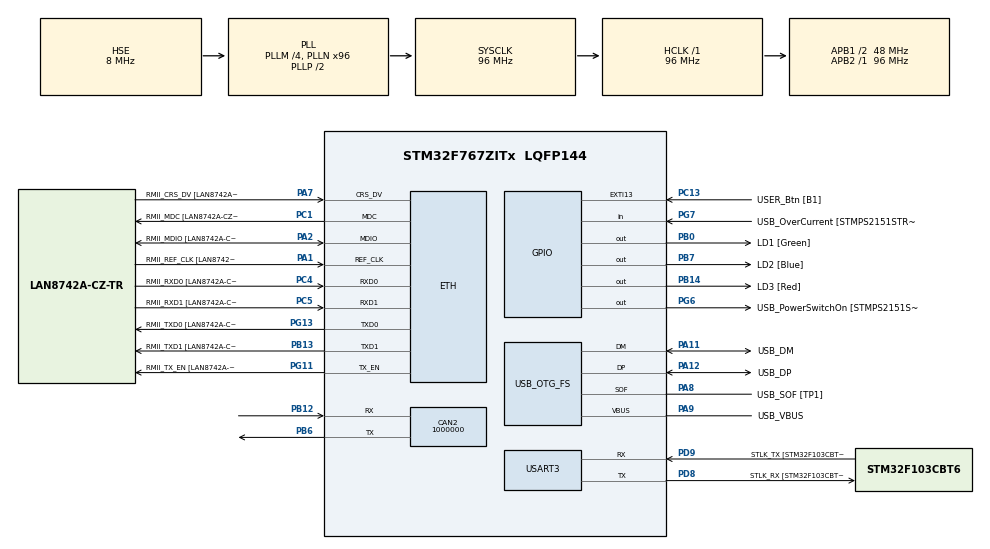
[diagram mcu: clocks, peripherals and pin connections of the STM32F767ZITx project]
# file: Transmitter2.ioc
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CAN2.CalculateBaudRate=1000000
CAN2.CalculateTimeQuantum=333.3333333333333
ETH.MediaInterface=HAL_ETH_RMII_MODE
ETH.PHY_Name=LAN8742A_PHY_ADDRESS
ETH.PHY_Value=0
ETH.PhyAddress=0
Mcu.Family=STM32F7
Mcu.Name=STM32F767ZITx
Mcu.Package=LQFP144
NVIC.PriorityGroup=NVIC_PRIORITYGROUP_4
PA1.GPIO_Label=RMII_REF_CLK [LAN8742A-CZ-TR_REFCLK0]
PA1.Mode=RMII
PA1.Signal=ETH_REF_CLK
PA10.GPIO_Label=USB_ID
PA10.Signal=USB_OTG_FS_ID
PA11.GPIO_Label=USB_DM
PA11.Mode=Device_Only
PA11.Signal=USB_OTG_FS_DM
PA12.GPIO_Label=USB_DP
PA12.Mode=Device_Only
PA12.Signal=USB_OTG_FS_DP
PA13.GPIO_Label=TMS
PA13.Mode=Serial_Wire
PA13.Signal=SYS_JTMS-SWDIO
PA14.GPIO_Label=TCK
PA14.Mode=Serial_Wire
PA14.Signal=SYS_JTCK-SWCLK
PA2.GPIO_Label=RMII_MDIO [LAN8742A-CZ-TR_MDIO]
PA2.Mode=RMII
PA2.Signal=ETH_MDIO
PA7.GPIO_Label=RMII_CRS_DV [LAN8742A-CZ-TR_CRS_DV]
PA7.Mode=RMII
PA7.Signal=ETH_CRS_DV
PA8.GPIO_Label=USB_SOF [TP1]
PA8.Mode=Activate_SOF_FS
PA8.Signal=USB_OTG_FS_SOF
PA9.GPIO_Label=USB_VBUS
PA9.Mode=Activate_VBUS
PA9.Signal=USB_OTG_FS_VBUS
PB0.GPIO_Label=LD1 [Green]
PB0.Signal=GPIO_Output
PB12.Mode=CAN_Activate
PB12.Signal=CAN2_RX
PB13.GPIO_Label=RMII_TXD1 [LAN8742A-CZ-TR_TXD1]
PB13.Mode=RMII
PB13.Signal=ETH_TXD1
PB14.GPIO_Label=LD3 [Red]
PB14.Signal=GPIO_Output
PB3.GPIO_Label=SWO
PB3.Signal=SYS_JTDO-SWO
PB6.Mode=CAN_Activate
PB6.Signal=CAN2_TX
PB7.GPIO_Label=LD2 [Blue]
PB7.Signal=GPIO_Output
PC1.GPIO_Label=RMII_MDC [LAN8742A-CZ-TR_MDC]
PC1.Mode=RMII
PC1.Signal=ETH_MDC
PC13.GPIO_Label=USER_Btn [B1]
PC13.Signal=GPXTI13
PC14/OSC32_IN.Mode=LSE-External-Oscillator
PC14/OSC32_IN.Signal=RCC_OSC32_IN
PC15/OSC32_OUT.Mode=LSE-External-Oscillator
PC15/OSC32_OUT.Signal=RCC_OSC32_OUT
PC4.GPIO_Label=RMII_RXD0 [LAN8742A-CZ-TR_RXD0]
PC4.Mode=RMII
PC4.Signal=ETH_RXD0
PC5.GPIO_Label=RMII_RXD1 [LAN8742A-CZ-TR_RXD1]
PC5.Mode=RMII
PC5.Signal=ETH_RXD1
PD8.GPIO_Label=STLK_RX [STM32F103CBT6_PA3]
PD8.Mode=Asynchronous
PD8.Signal=USART3_TX
PD9.GPIO_Label=STLK_TX [STM32F103CBT6_PA2]
PD9.Mode=Asynchronous
PD9.Signal=USART3_RX
PG11.GPIO_Label=RMII_TX_EN [LAN8742A-CZ-TR_TXEN]
PG11.Mode=RMII
PG11.Signal=ETH_TX_EN
PG13.GPIO_Label=RMII_TXD0 [LAN8742A-CZ-TR_TXD0]
PG13.Mode=RMII
PG13.Signal=ETH_TXD0
PG6.GPIO_Label=USB_PowerSwitchOn [STMPS2151STR_EN]
PG6.Signal=GPIO_Output
PG7.GPIO_Label=USB_OverCurrent [STMPS2151STR_FAULT]
PG7.Signal=GPIO_Input
PH0/OSC_IN.GPIO_Label=MCO [STM32F103CBT6_PA8]
PH0/OSC_IN.Mode=HSE-External-Clock-Source
PH0/OSC_IN.Signal=RCC_OSC_IN
PH1/OSC_OUT.Mode=HSE-External-Clock-Source
PH1/OSC_OUT.Signal=RCC_OSC_OUT
ProjectManager.HeapSize=0x200
ProjectManager.StackSize=0x400
ProjectManager.TargetToolchain=STM32CubeIDE
RCC.48MHZClocksFreq_Value=24000000
RCC.AHBFreq_Value=96000000
RCC.APB1CLKDivider=RCC_HCLK_DIV2
RCC.APB1Freq_Value=48000000
RCC.APB1TimFreq_Value=96000000
RCC.APB2Freq_Value=96000000
RCC.APB2TimFreq_Value=96000000
RCC.CortexFreq_Value=96000000
RCC.HCLKFreq_Value=96000000
RCC.HSE_VALUE=8000000
RCC.HSI_VALUE=16000000
RCC.PLLM=4
RCC.PLLMUL=RCC_PLL_MUL9
RCC.PLLN=96
RCC.PLLQ=4
RCC.PRESCALERUSB=RCC_USBCLKSOURCE_PLL_DIV1_5
RCC.SYSCLKFreq_VALUE=96000000
RCC.SYSCLKSource=RCC_SYSCLKSOURCE_PLLCLK
RCC.SYSCLKSourceVirtual=RCC_SYSCLKSOURCE_PLLCLK
RCC.USBFreq_Value=48000000
RCC.VCOOutputFreq_Value=192000000
USART3.VirtualMode-Asynchronous=VM_ASYNC
USB_OTG_FS.VirtualMode=Device_Only
board=NUCLEO-F767ZI

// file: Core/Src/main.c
/* USER CODE BEGIN Header */
/**
  *******************************************************************************
  * @file           : main.c
  * @brief          : Main program body
  *******************************************************************************
  * @attention
  *
  * Copyright (c) 2024 STMicroelectronics.
  * All rights reserved.
  *
  * This software is licensed under terms that can be found in the LICENSE file
  * in the root directory of this software component.
  * If no LICENSE file comes with this software, it is provided AS-IS.
  *
  *******************************************************************************
  */
/* USER CODE END Header */
#include "main.h"
#include "string.h"

/* USER CODE BEGIN Includes */
#include "stm32f7xx_hal.h"
/* USER CODE END Includes */

CAN_HandleTypeDef hcan2;

UART_HandleTypeDef huart3;

/* USER CODE BEGIN PV */
// CAN message header and data buffer
CAN_TxHeaderTypeDef TxHeader;
uint8_t TxData[8];
uint32_t TxMailbox;
/* USER CODE END PV */

void SystemClock_Config(void);
static void MX_GPIO_Init(void);
static void MX_USART3_UART_Init(void);
static void MX_CAN2_Init(void);

int main(void)
{

  /* MCU Configuration--------------------------------------------------------*/
  HAL_Init();
  SystemClock_Config();
  MX_GPIO_Init();
  MX_USART3_UART_Init();
  MX_CAN2_Init();

  /* USER CODE BEGIN 2 */
  // Configure CAN message
  TxHeader.DLC = 2;                // Data length code: 2 bytes
  TxHeader.IDE = CAN_ID_STD;       // Standard identifier
  TxHeader.RTR = CAN_RTR_DATA;     // Data frame
  TxHeader.StdId = 0x123;          // Standard ID (0x123)

  // Example data to send
  TxData[0] = 0xAB;  // First byte
  TxData[1] = 0xCD;  // Second byte

  // Start CAN
  if (HAL_CAN_Start(&hcan2) != HAL_OK) {
    Error_Handler();
  }

  // Activate CAN notifications (optional)
  if (HAL_CAN_ActivateNotification(&hcan2, CAN_IT_TX_MAILBOX_EMPTY) != HAL_OK) {
    Error_Handler();
  }
  /* USER CODE END 2 */

  /* Infinite loop */
  while (1) {
    /* USER CODE BEGIN WHILE */
    // Transmit the CAN message
    if (HAL_CAN_AddTxMessage(&hcan2, &TxHeader, TxData, &TxMailbox) != HAL_OK) {
      // Handle transmission error
      Error_Handler();
    }

    // Add a delay to prevent constant retransmission
    HAL_Delay(1000);  // 1 second delay
    /* USER CODE END WHILE */
  }
}

void SystemClock_Config(void)
{
  RCC_OscInitTypeDef RCC_OscInitStruct = {0};
  RCC_ClkInitTypeDef RCC_ClkInitStruct = {0};

  HAL_PWR_EnableBkUpAccess();
  __HAL_RCC_PWR_CLK_ENABLE();
  __HAL_RCC_PWR_VOLTAGESCALING_CONFIG(PWR_REGULATOR_VOLTAGE_SCALE3);

  RCC_OscInitStruct.OscillatorType = RCC_OSCILLATORTYPE_HSE;
  RCC_OscInitStruct.HSEState = RCC_HSE_BYPASS;
  RCC_OscInitStruct.PLL.PLLState = RCC_PLL_ON;
  RCC_OscInitStruct.PLL.PLLSource = RCC_PLLSOURCE_HSE;
  RCC_OscInitStruct.PLL.PLLM = 4;
  RCC_OscInitStruct.PLL.PLLN = 96;
  RCC_OscInitStruct.PLL.PLLP = RCC_PLLP_DIV2;
  RCC_OscInitStruct.PLL.PLLQ = 4;
  RCC_OscInitStruct.PLL.PLLR = 2;
  if (HAL_RCC_OscConfig(&RCC_OscInitStruct) != HAL_OK) {
    Error_Handler();
  }

  if (HAL_PWREx_EnableOverDrive() != HAL_OK) {
    Error_Handler();
  }

  RCC_ClkInitStruct.ClockType = RCC_CLOCKTYPE_HCLK|RCC_CLOCKTYPE_SYSCLK
                              |RCC_CLOCKTYPE_PCLK1|RCC_CLOCKTYPE_PCLK2;
  RCC_ClkInitStruct.SYSCLKSource = RCC_SYSCLKSOURCE_PLLCLK;
  RCC_ClkInitStruct.AHBCLKDivider = RCC_SYSCLK_DIV1;
  RCC_ClkInitStruct.APB1CLKDivider = RCC_HCLK_DIV2;
  RCC_ClkInitStruct.APB2CLKDivider = RCC_HCLK_DIV1;

  if (HAL_RCC_ClockConfig(&RCC_ClkInitStruct, FLASH_LATENCY_3) != HAL_OK) {
    Error_Handler();
  }
}

static void MX_CAN2_Init(void)
{
  hcan2.Instance = CAN2;
  hcan2.Init.Prescaler = 16;
  hcan2.Init.Mode = CAN_MODE_NORMAL;
  hcan2.Init.SyncJumpWidth = CAN_SJW_1TQ;
  hcan2.Init.TimeSeg1 = CAN_BS1_1TQ;
  hcan2.Init.TimeSeg2 = CAN_BS2_1TQ;
  hcan2.Init.TimeTriggeredMode = DISABLE;
  hcan2.Init.AutoBusOff = DISABLE;
  hcan2.Init.AutoWakeUp = DISABLE;
  hcan2.Init.AutoRetransmission = DISABLE;
  hcan2.Init.ReceiveFifoLocked = DISABLE;
  hcan2.Init.TransmitFifoPriority = DISABLE;
  if (HAL_CAN_Init(&hcan2) != HAL_OK) {
    Error_Handler();
  }
}

static void MX_USART3_UART_Init(void)
{
  huart3.Instance = USART3;
  huart3.Init.BaudRate = 115200;
  huart3.Init.WordLength = UART_WORDLENGTH_8B;
  huart3.Init.StopBits = UART_STOPBITS_1;
  huart3.Init.Parity = UART_PARITY_NONE;
  huart3.Init.Mode = UART_MODE_TX_RX;
  huart3.Init.HwFlowCtl = UART_HWCONTROL_NONE;
  huart3.Init.OverSampling = UART_OVERSAMPLING_16;
  huart3.AdvancedInit.AdvFeatureInit = UART_ADVFEATURE_NO_INIT;
  if (HAL_UART_Init(&huart3) != HAL_OK) {
    Error_Handler();
  }
}

static void MX_GPIO_Init(void)
{
  GPIO_InitTypeDef GPIO_InitStruct = {0};

  __HAL_RCC_GPIOC_CLK_ENABLE();
  __HAL_RCC_GPIOH_CLK_ENABLE();
  __HAL_RCC_GPIOA_CLK_ENABLE();
  __HAL_RCC_GPIOB_CLK_ENABLE();
  __HAL_RCC_GPIOD_CLK_ENABLE();
  __HAL_RCC_GPIOG_CLK_ENABLE();

  HAL_GPIO_WritePin(GPIOB, LD1_Pin|LD3_Pin|LD2_Pin, GPIO_PIN_RESET);
  HAL_GPIO_WritePin(USB_PowerSwitchOn_GPIO_Port, USB_PowerSwitchOn_Pin, GPIO_PIN_RESET);

  GPIO_InitStruct.Pin = USER_Btn_Pin;
  GPIO_InitStruct.Mode = GPIO_MODE_IT_RISING;
  GPIO_InitStruct.Pull = GPIO_NOPULL;
  HAL_GPIO_Init(USER_Btn_GPIO_Port, &GPIO_InitStruct);

  GPIO_InitStruct.Pin = LD1_Pin|LD3_Pin|LD2_Pin;
  GPIO_InitStruct.Mode = GPIO_MODE_OUTPUT_PP;
  GPIO_InitStruct.Pull = GPIO_NOPULL;
  GPIO_InitStruct.Speed = GPIO_SPEED_FREQ_LOW;
  HAL_GPIO_Init(GPIOB, &GPIO_InitStruct);

  GPIO_InitStruct.Pin = USB_PowerSwitchOn_Pin;
  GPIO_InitStruct.Mode = GPIO_MODE_OUTPUT_PP;
  GPIO_InitStruct.Pull = GPIO_NOPULL;
  GPIO_InitStruct.Speed = GPIO_SPEED_FREQ_LOW;
  HAL_GPIO_Init(USB_PowerSwitchOn_GPIO_Port, &GPIO_InitStruct);
}

/**
  * @brief Error Handler
  */
void Error_Handler(void)
{
  __disable_irq();
  while (1) { }
}
